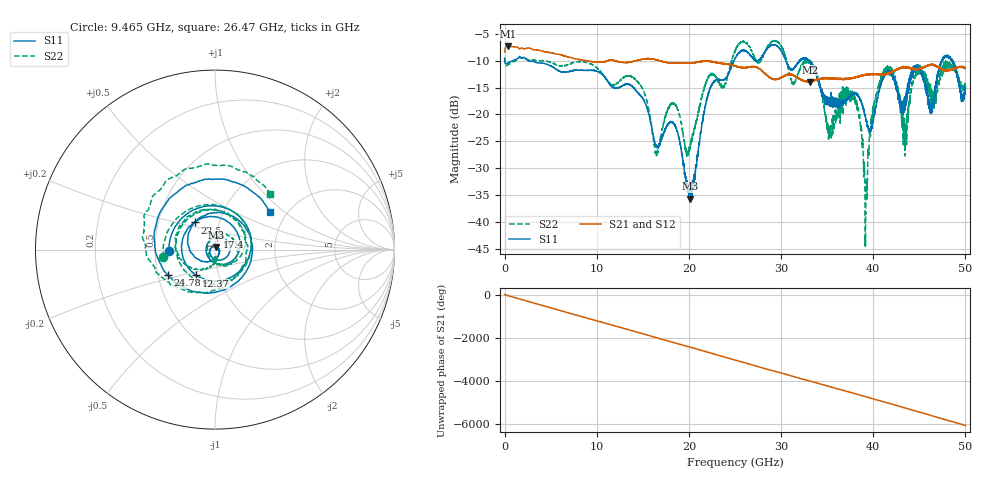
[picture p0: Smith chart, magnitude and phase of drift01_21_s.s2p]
!Created with skrf (http://scikit-rf.org).
# Hz S RI R 50.0
!freq ReS11 ImS11 ReS21 ImS21 ReS12 ImS12 ReS22 ImS22
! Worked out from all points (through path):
!   10001 points, 300 kHz to 50 GHz, reference 50 ohm
!   highest |S21| = -7.33 dB at 330.3 MHz (marker M1); lowest = -14.0 dB at 33.19 GHz (marker M2)
!   group delay of S21, straight-line fit = 335 ps
!   lowest |S11| = -35.7 dB at 20.17 GHz (marker M3), VSWR 1.03, Z = 50.7 + j1.48 ohm
!   |S11| at or under -10 dB: 2.556 GHz to 24.9 GHz (22.35 GHz wide, 163 % of centre); 30.51 GHz to 32.02 GHz (1.504 GHz wide, 4.81 % of centre); 33.03 GHz to 47.44 GHz (14.4 GHz wide, 35.8 % of centre) (the widest 3 of 19)
!   |S22| runs from -44.5 to -6.3 dB; largest |S21 - S12| = 0.0076
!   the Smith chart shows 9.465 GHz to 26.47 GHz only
!   S11 on the Smith chart (normalised r, x): 9.465 GHz: 0.59, -0.01; 12.37 GHz: 0.78, -0.23; 17.4 GHz: 1.01, +0.14; 22.5 GHz: 0.77, +0.24; 24.78 GHz: 0.56, -0.17; 26.47 GHz: 1.64, +0.80
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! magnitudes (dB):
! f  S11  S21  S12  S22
! 300 kHz  -9.5  -8.4  -8.5  -9.5
! 330.3 MHz  -10.5  -7.3  -7.3  -10.9
! 8.335 GHz  -11.8  -9.9  -9.9  -10.2
! 9.465 GHz  -11.8  -10.2  -10.2  -10.7
! 12.37 GHz  -15.0  -10.2  -10.2  -13.9
! 16.67 GHz  -26.1  -10.0  -10.0  -27.1
! 17.4 GHz  -22.9  -10.3  -10.3  -20.4
! 20.17 GHz  -35.7  -10.5  -10.5  -25.8
! 22.5 GHz  -14.5  -10.2  -10.2  -12.6
! 24.78 GHz  -10.5  -10.9  -10.9  -9.2
! 25 GHz  -9.6  -11.0  -11.0  -8.3
! 26.47 GHz  -8.6  -11.2  -11.2  -7.2
! 33.19 GHz  -10.4  -14.0  -13.8  -10.1
! 33.34 GHz  -10.8  -13.8  -13.8  -10.5
! 35.23 GHz  -17.6  -13.3  -13.3  -22.4
! 37.98 GHz  -16.0  -13.1  -13.2  -17.4
! 39.17 GHz  -20.7  -12.7  -12.6  -40.3
! 40.15 GHz  -19.8  -12.5  -12.5  -17.6
! 41.67 GHz  -12.1  -12.3  -12.4  -11.9
! 43.45 GHz  -17.4  -11.3  -11.3  -26.1
! 44.88 GHz  -11.3  -11.6  -11.6  -11.7
! 50 GHz  -15.2  -11.4  -11.3  -14.9
